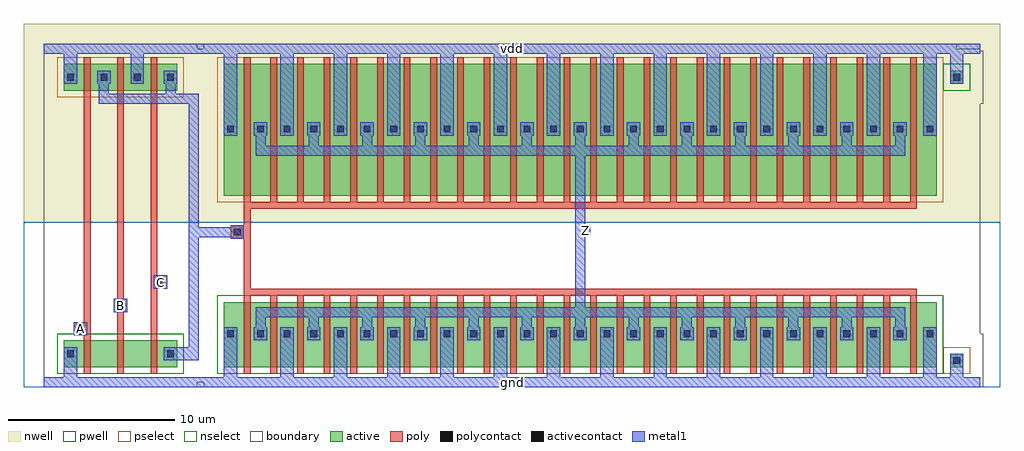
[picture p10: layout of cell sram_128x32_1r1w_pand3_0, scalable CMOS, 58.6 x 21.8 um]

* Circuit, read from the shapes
.subckt sram_128x32_1r1w_pand3_0 A B C Z gnd vdd
M1 sram_128x32_1r1w_pnand3_0_0/sram_128x32_1r1w_nmos_m1_w1_600_sm1_dactive_3/D A gnd gnd nfet w=1.6u l=0.4u
M2 sram_128x32_1r1w_pnand3_0_0/sram_128x32_1r1w_nmos_m1_w1_600_sactive_dactive_4/D B sram_128x32_1r1w_pnand3_0_0/sram_128x32_1r1w_nmos_m1_w1_600_sm1_dactive_3/D gnd nfet w=1.6u l=0.4u
M3 sram_128x32_1r1w_pdriver_3_1/A C sram_128x32_1r1w_pnand3_0_0/sram_128x32_1r1w_nmos_m1_w1_600_sactive_dactive_4/D gnd nfet w=1.6u l=0.4u
M4 Z sram_128x32_1r1w_pdriver_3_1/A gnd gnd nfet w=3.9u l=0.4u m=26
M5 sram_128x32_1r1w_pdriver_3_1/A A vdd vdd pfet w=1.6u l=0.4u
M6 vdd B sram_128x32_1r1w_pdriver_3_1/A vdd pfet w=1.6u l=0.4u
M7 sram_128x32_1r1w_pdriver_3_1/A C vdd vdd pfet w=1.6u l=0.4u
M8 Z sram_128x32_1r1w_pdriver_3_1/A vdd vdd pfet w=7.9u l=0.4u m=26
.ends

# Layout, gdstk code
import gdstk
lib = gdstk.Library(unit=1e-6, precision=1e-09)
def R(c, l, rs):  # rectangles x0, y0, x1, y1
    for r in rs: c.add(gdstk.rectangle(r[:2], r[2:], *l))
def A(c, l, x, y, w, h, nx, ny, dx, dy):  # array of equal rectangles
    R(c, l, [(x+i*dx, y+j*dy, x+i*dx+w, y+j*dy+h) for i in range(nx) for j in range(ny)])
pwell = (41, 0)
nwell = (42, 0)
active = (43, 0)
pselect = (44, 0)
nselect = (45, 0)
poly = (46, 0)
polycontact = (47, 0)
activecontact = (48, 0)
metal1 = (49, 0)
boundary = (63, 0)

sram_128x32_1r1w_contact = lib.new_cell('sram_128x32_1r1w_contact_11')
R(sram_128x32_1r1w_contact, nwell, [(-1.2,-1.2,2,2)])
R(sram_128x32_1r1w_contact, active, [(0,0,0.8,0.8)])
R(sram_128x32_1r1w_contact, pselect, [(-0.4,-0.4,1.2,1.2)])
R(sram_128x32_1r1w_contact, activecontact, [(0.2,0.2,0.6,0.6)])
R(sram_128x32_1r1w_contact, metal1, [(0,0,0.8,0.8)])
R(sram_128x32_1r1w_contact, boundary, [(-1.2,-1.2,2,2)])

sram_128x32_1r1w_pmos_m1 = lib.new_cell('sram_128x32_1r1w_pmos_m1_w1_600_sm1_dm1')
R(sram_128x32_1r1w_pmos_m1, nwell, [(-1.2,-1.2,4,2.8)])
R(sram_128x32_1r1w_pmos_m1, active, [(0,0,2.8,1.6)])
R(sram_128x32_1r1w_pmos_m1, pselect, [(-0.4,-0.4,3.2,2)])
R(sram_128x32_1r1w_pmos_m1, poly, [(1.2,-0.4,1.6,2), (1.2,-0.4,1.6,2)])
R(sram_128x32_1r1w_pmos_m1, metal1, [(0,0.4,0.8,1.2), (2,0.4,2.8,1.2)])
R(sram_128x32_1r1w_pmos_m1, boundary, [(-1.2,-1.2,4,2.8)])
sram_128x32_1r1w_pmos_m1.add(gdstk.Reference(sram_128x32_1r1w_contact, (0,0.4)))
sram_128x32_1r1w_pmos_m1.add(gdstk.Reference(sram_128x32_1r1w_contact, (2,0.4)))
sram_128x32_1r1w_pmos_m1.add(gdstk.Label('G', (1.4,0.8), layer=46, texttype=0))
sram_128x32_1r1w_pmos_m1.add(gdstk.Label('S', (0.4,0.8), layer=49, texttype=0))
sram_128x32_1r1w_pmos_m1.add(gdstk.Label('D', (2.4,0.8), layer=49, texttype=0))

c_sram_128x32_1r1w_contact = lib.new_cell('sram_128x32_1r1w_contact_10')
R(c_sram_128x32_1r1w_contact, pwell, [(-1.2,-1.2,2,2)])
R(c_sram_128x32_1r1w_contact, active, [(0,0,0.8,0.8)])
R(c_sram_128x32_1r1w_contact, nselect, [(-0.4,-0.4,1.2,1.2)])
R(c_sram_128x32_1r1w_contact, activecontact, [(0.2,0.2,0.6,0.6)])
R(c_sram_128x32_1r1w_contact, metal1, [(0,0,0.8,0.8)])
R(c_sram_128x32_1r1w_contact, boundary, [(-1.2,-1.2,2,2)])

sram_128x32_1r1w_nmos_m1 = lib.new_cell('sram_128x32_1r1w_nmos_m1_w1_600_sm1_dactive')
R(sram_128x32_1r1w_nmos_m1, pwell, [(-1.2,-1.2,4,2.8)])
R(sram_128x32_1r1w_nmos_m1, active, [(0,0,2.8,1.6), (2.1,0.5,2.7,1.1)])
R(sram_128x32_1r1w_nmos_m1, nselect, [(-0.4,-0.4,3.2,2)])
R(sram_128x32_1r1w_nmos_m1, poly, [(1.2,-0.4,1.6,2), (1.2,-0.4,1.6,2)])
R(sram_128x32_1r1w_nmos_m1, metal1, [(0,0.4,0.8,1.2)])
R(sram_128x32_1r1w_nmos_m1, boundary, [(-1.2,-1.2,4,2.8)])
sram_128x32_1r1w_nmos_m1.add(gdstk.Reference(c_sram_128x32_1r1w_contact, (0,0.4)))
sram_128x32_1r1w_nmos_m1.add(gdstk.Label('G', (1.4,0.8), layer=46, texttype=0))
sram_128x32_1r1w_nmos_m1.add(gdstk.Label('S', (0.4,0.8), layer=49, texttype=0))
sram_128x32_1r1w_nmos_m1.add(gdstk.Label('D', (2.4,0.8), layer=43, texttype=0))

c_sram_128x32_1r1w_nmos_m1 = lib.new_cell('sram_128x32_1r1w_nmos_m1_w1_600_sactive_dactive')
R(c_sram_128x32_1r1w_nmos_m1, pwell, [(-1.2,-1.2,4,2.8)])
R(c_sram_128x32_1r1w_nmos_m1, active, [(0,0,2.8,1.6), (0.1,0.5,0.7,1.1), (2.1,0.5,2.7,1.1)])
R(c_sram_128x32_1r1w_nmos_m1, nselect, [(-0.4,-0.4,3.2,2)])
R(c_sram_128x32_1r1w_nmos_m1, poly, [(1.2,-0.4,1.6,2), (1.2,-0.4,1.6,2)])
R(c_sram_128x32_1r1w_nmos_m1, boundary, [(-1.2,-1.2,4,2.8)])
c_sram_128x32_1r1w_nmos_m1.add(gdstk.Label('G', (1.4,0.8), layer=46, texttype=0))
c_sram_128x32_1r1w_nmos_m1.add(gdstk.Label('S', (0.4,0.8), layer=43, texttype=0))
c_sram_128x32_1r1w_nmos_m1.add(gdstk.Label('D', (2.4,0.8), layer=43, texttype=0))

c_sram_128x32_1r1w_nmos_m1_ = lib.new_cell('sram_128x32_1r1w_nmos_m1_w1_600_sactive_dm1')
R(c_sram_128x32_1r1w_nmos_m1_, pwell, [(-1.2,-1.2,4,2.8)])
R(c_sram_128x32_1r1w_nmos_m1_, active, [(0,0,2.8,1.6), (0.1,0.5,0.7,1.1)])
R(c_sram_128x32_1r1w_nmos_m1_, nselect, [(-0.4,-0.4,3.2,2)])
R(c_sram_128x32_1r1w_nmos_m1_, poly, [(1.2,-0.4,1.6,2), (1.2,-0.4,1.6,2)])
R(c_sram_128x32_1r1w_nmos_m1_, metal1, [(2,0.4,2.8,1.2)])
R(c_sram_128x32_1r1w_nmos_m1_, boundary, [(-1.2,-1.2,4,2.8)])
c_sram_128x32_1r1w_nmos_m1_.add(gdstk.Reference(c_sram_128x32_1r1w_contact, (2,0.4)))
c_sram_128x32_1r1w_nmos_m1_.add(gdstk.Label('G', (1.4,0.8), layer=46, texttype=0))
c_sram_128x32_1r1w_nmos_m1_.add(gdstk.Label('S', (0.4,0.8), layer=43, texttype=0))
c_sram_128x32_1r1w_nmos_m1_.add(gdstk.Label('D', (2.4,0.8), layer=49, texttype=0))

c_sram_128x32_1r1w_contact_ = lib.new_cell('sram_128x32_1r1w_contact_14')
R(c_sram_128x32_1r1w_contact_, poly, [(0,0,0.8,0.8)])
R(c_sram_128x32_1r1w_contact_, polycontact, [(0.2,0.2,0.6,0.6)])
R(c_sram_128x32_1r1w_contact_, metal1, [(0,0,0.8,0.8)])
R(c_sram_128x32_1r1w_contact_, boundary, [(0,0,0.8,0.8)])

sram_128x32_1r1w_pnand3_ = lib.new_cell('sram_128x32_1r1w_pnand3_0')
R(sram_128x32_1r1w_pnand3_, pwell, [(-1.2,-0.3,10.8,9.6)])
R(sram_128x32_1r1w_pnand3_, nwell, [(-1.2,9.6,10.8,21.5)])
A(sram_128x32_1r1w_pnand3_, poly, 2.4, 2.9, 0.4, 14.2, 3, 1, 2, 0)
R(sram_128x32_1r1w_pnand3_, poly, [(2.2,2.8,2.4,3.6), (4.4,4.2,4.6,5), (6.4,5.6,7,6.4)])
R(sram_128x32_1r1w_pnand3_, metal1, [(0,-0.3,9.6,0.3), (1.2,-0.3,2,1.3), (7.6,1.3,9,2.1), (8.7,1.3,9.3,17), (1.8,2.8,2.6,3.6), (4.2,4.2,5,5), (6.6,5.6,7.4,6.4), (3.3,16.7,3.9,17.3), (3.6,16.7,9,17.3), (7.3,16.7,7.9,17.3), (7.6,16.7,9,17.3), (8.7,16.7,9.3,17.3), (3.3,17,3.9,18.3), (7.3,17,7.9,18.3), (1.2,17.9,2,20.3), (5.2,17.9,6,20.3), (0,19.7,9.6,20.3)])
R(sram_128x32_1r1w_pnand3_, boundary, [(0,0,9.6,20), (0,0,9.6,20)])
sram_128x32_1r1w_pnand3_.add(gdstk.Reference(sram_128x32_1r1w_pmos_m1, (1.2,17.5)))
sram_128x32_1r1w_pnand3_.add(gdstk.Reference(sram_128x32_1r1w_pmos_m1, (3.2,17.5)))
sram_128x32_1r1w_pnand3_.add(gdstk.Reference(sram_128x32_1r1w_pmos_m1, (5.2,17.5)))
sram_128x32_1r1w_pnand3_.add(gdstk.Reference(sram_128x32_1r1w_nmos_m1, (1.2,0.9)))
sram_128x32_1r1w_pnand3_.add(gdstk.Reference(c_sram_128x32_1r1w_nmos_m1, (3.2,0.9)))
sram_128x32_1r1w_pnand3_.add(gdstk.Reference(c_sram_128x32_1r1w_nmos_m1_, (5.2,0.9)))
sram_128x32_1r1w_pnand3_.add(gdstk.Reference(c_sram_128x32_1r1w_contact_, (1.8,2.8)))
sram_128x32_1r1w_pnand3_.add(gdstk.Reference(c_sram_128x32_1r1w_contact_, (4.2,4.2)))
sram_128x32_1r1w_pnand3_.add(gdstk.Reference(c_sram_128x32_1r1w_contact_, (6.6,5.6)))
sram_128x32_1r1w_pnand3_.add(gdstk.Label('A', (2.2,3.2), layer=49, texttype=0))
sram_128x32_1r1w_pnand3_.add(gdstk.Label('B', (4.6,4.6), layer=49, texttype=0))
sram_128x32_1r1w_pnand3_.add(gdstk.Label('C', (7,6), layer=49, texttype=0))
sram_128x32_1r1w_pnand3_.add(gdstk.Label('Z', (9,17), layer=49, texttype=0))
sram_128x32_1r1w_pnand3_.add(gdstk.Label('gnd', (4.8,0), layer=49, texttype=0))
sram_128x32_1r1w_pnand3_.add(gdstk.Label('vdd', (4.8,20), layer=49, texttype=0))

sram_128x32_1r1w_pmos_m2 = lib.new_cell('sram_128x32_1r1w_pmos_m26_w7_900_sm1_dm1_da_p')
R(sram_128x32_1r1w_pmos_m2, nwell, [(-1.2,-1.2,44,9.1)])
R(sram_128x32_1r1w_pmos_m2, active, [(0,0,42.8,7.9)])
R(sram_128x32_1r1w_pmos_m2, pselect, [(-0.4,-0.4,43.2,8.3)])
A(sram_128x32_1r1w_pmos_m2, poly, 1.2, -0.4, 0.4, 8.7, 26, 1, 1.6, 0)
R(sram_128x32_1r1w_pmos_m2, poly, [(1.2,-0.8,41.6,-0.4)])
A(sram_128x32_1r1w_pmos_m2, metal1, 1.9, 2.6, 0.6, 1.4, 13, 1, 3.2, 0)
A(sram_128x32_1r1w_pmos_m2, metal1, 3.4, 3.6, 0.8, 0.8, 12, 1, 3.2, 0)
R(sram_128x32_1r1w_pmos_m2, metal1, [(1.9,2.4,40.9,3), (0,3.6,0.8,4.4), (42,3.6,42.8,4.4)])
R(sram_128x32_1r1w_pmos_m2, boundary, [(-1.2,-1.2,44,9.1)])
sram_128x32_1r1w_pmos_m2.add(gdstk.Reference(sram_128x32_1r1w_contact, (0,3.6)))
sram_128x32_1r1w_pmos_m2.add(gdstk.Reference(sram_128x32_1r1w_contact, (1.8,3.6)))
sram_128x32_1r1w_pmos_m2.add(gdstk.Reference(sram_128x32_1r1w_contact, (3.4,3.6)))
sram_128x32_1r1w_pmos_m2.add(gdstk.Reference(sram_128x32_1r1w_contact, (5,3.6)))
sram_128x32_1r1w_pmos_m2.add(gdstk.Reference(sram_128x32_1r1w_contact, (6.6,3.6)))
sram_128x32_1r1w_pmos_m2.add(gdstk.Reference(sram_128x32_1r1w_contact, (8.2,3.6)))
sram_128x32_1r1w_pmos_m2.add(gdstk.Reference(sram_128x32_1r1w_contact, (9.8,3.6)))
sram_128x32_1r1w_pmos_m2.add(gdstk.Reference(sram_128x32_1r1w_contact, (11.4,3.6)))
sram_128x32_1r1w_pmos_m2.add(gdstk.Reference(sram_128x32_1r1w_contact, (13,3.6)))
sram_128x32_1r1w_pmos_m2.add(gdstk.Reference(sram_128x32_1r1w_contact, (14.6,3.6)))
sram_128x32_1r1w_pmos_m2.add(gdstk.Reference(sram_128x32_1r1w_contact, (16.2,3.6)))
sram_128x32_1r1w_pmos_m2.add(gdstk.Reference(sram_128x32_1r1w_contact, (17.8,3.6)))
sram_128x32_1r1w_pmos_m2.add(gdstk.Reference(sram_128x32_1r1w_contact, (19.4,3.6)))
sram_128x32_1r1w_pmos_m2.add(gdstk.Reference(sram_128x32_1r1w_contact, (21,3.6)))
sram_128x32_1r1w_pmos_m2.add(gdstk.Reference(sram_128x32_1r1w_contact, (22.6,3.6)))
sram_128x32_1r1w_pmos_m2.add(gdstk.Reference(sram_128x32_1r1w_contact, (24.2,3.6)))
sram_128x32_1r1w_pmos_m2.add(gdstk.Reference(sram_128x32_1r1w_contact, (25.8,3.6)))
sram_128x32_1r1w_pmos_m2.add(gdstk.Reference(sram_128x32_1r1w_contact, (27.4,3.6)))
sram_128x32_1r1w_pmos_m2.add(gdstk.Reference(sram_128x32_1r1w_contact, (29,3.6)))
sram_128x32_1r1w_pmos_m2.add(gdstk.Reference(sram_128x32_1r1w_contact, (30.6,3.6)))
sram_128x32_1r1w_pmos_m2.add(gdstk.Reference(sram_128x32_1r1w_contact, (32.2,3.6)))
sram_128x32_1r1w_pmos_m2.add(gdstk.Reference(sram_128x32_1r1w_contact, (33.8,3.6)))
sram_128x32_1r1w_pmos_m2.add(gdstk.Reference(sram_128x32_1r1w_contact, (35.4,3.6)))
sram_128x32_1r1w_pmos_m2.add(gdstk.Reference(sram_128x32_1r1w_contact, (37,3.6)))
sram_128x32_1r1w_pmos_m2.add(gdstk.Reference(sram_128x32_1r1w_contact, (38.6,3.6)))
sram_128x32_1r1w_pmos_m2.add(gdstk.Reference(sram_128x32_1r1w_contact, (40.2,3.6)))
sram_128x32_1r1w_pmos_m2.add(gdstk.Reference(sram_128x32_1r1w_contact, (42,3.6)))
sram_128x32_1r1w_pmos_m2.add(gdstk.Label('G', (21.4,-0.6), layer=46, texttype=0))
sram_128x32_1r1w_pmos_m2.add(gdstk.Label('S', (23,4), layer=49, texttype=0))
sram_128x32_1r1w_pmos_m2.add(gdstk.Label('S', (39,4), layer=49, texttype=0))
sram_128x32_1r1w_pmos_m2.add(gdstk.Label('S', (0.4,4), layer=49, texttype=0))
sram_128x32_1r1w_pmos_m2.add(gdstk.Label('S', (16.6,4), layer=49, texttype=0))
sram_128x32_1r1w_pmos_m2.add(gdstk.Label('S', (26.2,4), layer=49, texttype=0))
sram_128x32_1r1w_pmos_m2.add(gdstk.Label('S', (29.4,4), layer=49, texttype=0))
sram_128x32_1r1w_pmos_m2.add(gdstk.Label('S', (10.2,4), layer=49, texttype=0))
sram_128x32_1r1w_pmos_m2.add(gdstk.Label('S', (3.8,4), layer=49, texttype=0))
sram_128x32_1r1w_pmos_m2.add(gdstk.Label('S', (13.4,4), layer=49, texttype=0))
sram_128x32_1r1w_pmos_m2.add(gdstk.Label('S', (35.8,4), layer=49, texttype=0))
sram_128x32_1r1w_pmos_m2.add(gdstk.Label('S', (42.4,4), layer=49, texttype=0))
sram_128x32_1r1w_pmos_m2.add(gdstk.Label('S', (7,4), layer=49, texttype=0))
sram_128x32_1r1w_pmos_m2.add(gdstk.Label('S', (32.6,4), layer=49, texttype=0))
sram_128x32_1r1w_pmos_m2.add(gdstk.Label('S', (19.8,4), layer=49, texttype=0))
sram_128x32_1r1w_pmos_m2.add(gdstk.Label('D', (21.4,2.7), layer=49, texttype=0))

sram_128x32_1r1w_nmos_m2 = lib.new_cell('sram_128x32_1r1w_nmos_m26_w3_900_sm1_dm1_da_p')
R(sram_128x32_1r1w_nmos_m2, pwell, [(-1.2,-1.2,44,5.1)])
R(sram_128x32_1r1w_nmos_m2, active, [(0,0,42.8,3.9)])
R(sram_128x32_1r1w_nmos_m2, nselect, [(-0.4,-0.4,43.2,4.3)])
A(sram_128x32_1r1w_nmos_m2, poly, 1.2, -0.4, 0.4, 4.7, 26, 1, 1.6, 0)
R(sram_128x32_1r1w_nmos_m2, poly, [(1.2,4.3,41.6,4.7)])
A(sram_128x32_1r1w_nmos_m2, metal1, 3.4, 1.6, 0.8, 0.8, 12, 1, 3.2, 0)
A(sram_128x32_1r1w_nmos_m2, metal1, 1.9, 2, 0.6, 1.2, 13, 1, 3.2, 0)
R(sram_128x32_1r1w_nmos_m2, metal1, [(0,1.6,0.8,2.4), (42,1.6,42.8,2.4), (1.9,3,40.9,3.6)])
R(sram_128x32_1r1w_nmos_m2, boundary, [(-1.2,-1.2,44,5.1)])
sram_128x32_1r1w_nmos_m2.add(gdstk.Reference(c_sram_128x32_1r1w_contact, (0,1.6)))
sram_128x32_1r1w_nmos_m2.add(gdstk.Reference(c_sram_128x32_1r1w_contact, (1.8,1.6)))
sram_128x32_1r1w_nmos_m2.add(gdstk.Reference(c_sram_128x32_1r1w_contact, (3.4,1.6)))
sram_128x32_1r1w_nmos_m2.add(gdstk.Reference(c_sram_128x32_1r1w_contact, (5,1.6)))
sram_128x32_1r1w_nmos_m2.add(gdstk.Reference(c_sram_128x32_1r1w_contact, (6.6,1.6)))
sram_128x32_1r1w_nmos_m2.add(gdstk.Reference(c_sram_128x32_1r1w_contact, (8.2,1.6)))
sram_128x32_1r1w_nmos_m2.add(gdstk.Reference(c_sram_128x32_1r1w_contact, (9.8,1.6)))
sram_128x32_1r1w_nmos_m2.add(gdstk.Reference(c_sram_128x32_1r1w_contact, (11.4,1.6)))
sram_128x32_1r1w_nmos_m2.add(gdstk.Reference(c_sram_128x32_1r1w_contact, (13,1.6)))
sram_128x32_1r1w_nmos_m2.add(gdstk.Reference(c_sram_128x32_1r1w_contact, (14.6,1.6)))
sram_128x32_1r1w_nmos_m2.add(gdstk.Reference(c_sram_128x32_1r1w_contact, (16.2,1.6)))
sram_128x32_1r1w_nmos_m2.add(gdstk.Reference(c_sram_128x32_1r1w_contact, (17.8,1.6)))
sram_128x32_1r1w_nmos_m2.add(gdstk.Reference(c_sram_128x32_1r1w_contact, (19.4,1.6)))
sram_128x32_1r1w_nmos_m2.add(gdstk.Reference(c_sram_128x32_1r1w_contact, (21,1.6)))
sram_128x32_1r1w_nmos_m2.add(gdstk.Reference(c_sram_128x32_1r1w_contact, (22.6,1.6)))
sram_128x32_1r1w_nmos_m2.add(gdstk.Reference(c_sram_128x32_1r1w_contact, (24.2,1.6)))
sram_128x32_1r1w_nmos_m2.add(gdstk.Reference(c_sram_128x32_1r1w_contact, (25.8,1.6)))
sram_128x32_1r1w_nmos_m2.add(gdstk.Reference(c_sram_128x32_1r1w_contact, (27.4,1.6)))
sram_128x32_1r1w_nmos_m2.add(gdstk.Reference(c_sram_128x32_1r1w_contact, (29,1.6)))
sram_128x32_1r1w_nmos_m2.add(gdstk.Reference(c_sram_128x32_1r1w_contact, (30.6,1.6)))
sram_128x32_1r1w_nmos_m2.add(gdstk.Reference(c_sram_128x32_1r1w_contact, (32.2,1.6)))
sram_128x32_1r1w_nmos_m2.add(gdstk.Reference(c_sram_128x32_1r1w_contact, (33.8,1.6)))
sram_128x32_1r1w_nmos_m2.add(gdstk.Reference(c_sram_128x32_1r1w_contact, (35.4,1.6)))
sram_128x32_1r1w_nmos_m2.add(gdstk.Reference(c_sram_128x32_1r1w_contact, (37,1.6)))
sram_128x32_1r1w_nmos_m2.add(gdstk.Reference(c_sram_128x32_1r1w_contact, (38.6,1.6)))
sram_128x32_1r1w_nmos_m2.add(gdstk.Reference(c_sram_128x32_1r1w_contact, (40.2,1.6)))
sram_128x32_1r1w_nmos_m2.add(gdstk.Reference(c_sram_128x32_1r1w_contact, (42,1.6)))
sram_128x32_1r1w_nmos_m2.add(gdstk.Label('G', (21.4,4.5), layer=46, texttype=0))
sram_128x32_1r1w_nmos_m2.add(gdstk.Label('S', (42.4,2), layer=49, texttype=0))
sram_128x32_1r1w_nmos_m2.add(gdstk.Label('S', (29.4,2), layer=49, texttype=0))
sram_128x32_1r1w_nmos_m2.add(gdstk.Label('S', (7,2), layer=49, texttype=0))
sram_128x32_1r1w_nmos_m2.add(gdstk.Label('S', (13.4,2), layer=49, texttype=0))
sram_128x32_1r1w_nmos_m2.add(gdstk.Label('S', (19.8,2), layer=49, texttype=0))
sram_128x32_1r1w_nmos_m2.add(gdstk.Label('S', (23,2), layer=49, texttype=0))
sram_128x32_1r1w_nmos_m2.add(gdstk.Label('S', (32.6,2), layer=49, texttype=0))
sram_128x32_1r1w_nmos_m2.add(gdstk.Label('S', (10.2,2), layer=49, texttype=0))
sram_128x32_1r1w_nmos_m2.add(gdstk.Label('S', (3.8,2), layer=49, texttype=0))
sram_128x32_1r1w_nmos_m2.add(gdstk.Label('S', (35.8,2), layer=49, texttype=0))
sram_128x32_1r1w_nmos_m2.add(gdstk.Label('S', (16.6,2), layer=49, texttype=0))
sram_128x32_1r1w_nmos_m2.add(gdstk.Label('S', (39,2), layer=49, texttype=0))
sram_128x32_1r1w_nmos_m2.add(gdstk.Label('S', (0.4,2), layer=49, texttype=0))
sram_128x32_1r1w_nmos_m2.add(gdstk.Label('S', (26.2,2), layer=49, texttype=0))
sram_128x32_1r1w_nmos_m2.add(gdstk.Label('D', (21.4,3.3), layer=49, texttype=0))

c_sram_128x32_1r1w_contact__ = lib.new_cell('sram_128x32_1r1w_contact_12')
R(c_sram_128x32_1r1w_contact__, nwell, [(-1.2,-1.2,2,2)])
R(c_sram_128x32_1r1w_contact__, active, [(0,0,0.8,0.8)])
R(c_sram_128x32_1r1w_contact__, nselect, [(-0.4,-0.4,1.2,1.2)])
R(c_sram_128x32_1r1w_contact__, activecontact, [(0.2,0.2,0.6,0.6)])
R(c_sram_128x32_1r1w_contact__, metal1, [(0,0,0.8,0.8)])
R(c_sram_128x32_1r1w_contact__, boundary, [(-1.2,-1.2,2,2)])

c_sram_128x32_1r1w_contact___ = lib.new_cell('sram_128x32_1r1w_contact_13')
R(c_sram_128x32_1r1w_contact___, pwell, [(-1.2,-1.2,2,2)])
R(c_sram_128x32_1r1w_contact___, active, [(0,0,0.8,0.8)])
R(c_sram_128x32_1r1w_contact___, pselect, [(-0.4,-0.4,1.2,1.2)])
R(c_sram_128x32_1r1w_contact___, activecontact, [(0.2,0.2,0.6,0.6)])
R(c_sram_128x32_1r1w_contact___, metal1, [(0,0,0.8,0.8)])
R(c_sram_128x32_1r1w_contact___, boundary, [(-1.2,-1.2,2,2)])

sram_128x32_1r1w_pinv_14 = lib.new_cell('sram_128x32_1r1w_pinv_14')
R(sram_128x32_1r1w_pinv_14, pwell, [(-1.2,-0.3,47.8,9.6)])
R(sram_128x32_1r1w_pinv_14, nwell, [(-1.2,9.6,47.8,21.5)])
R(sram_128x32_1r1w_pinv_14, poly, [(2.4,5.6,2.8,10.4), (2,8.6,2.4,9.4)])
A(sram_128x32_1r1w_pinv_14, metal1, 4.6, -0.3, 0.8, 2.8, 12, 1, 3.2, 0)
A(sram_128x32_1r1w_pinv_14, metal1, 4.6, 14.8, 0.8, 5.5, 12, 1, 3.2, 0)
R(sram_128x32_1r1w_pinv_14, metal1, [(0,-0.3,46.6,0.3), (1.2,-0.3,2,2.5), (43.2,-0.3,44,2.5), (44.8,0,45.6,1.3), (22.3,3.9,22.9,14.2), (1.6,8.6,2.4,9.4), (22.6,8.8,23.2,9.4), (1.2,14.8,2,20.3), (43.2,14.8,44,20.3), (44.8,18.3,45.6,20), (0,19.7,46.6,20.3)])
R(sram_128x32_1r1w_pinv_14, boundary, [(0,0,46.6,20), (0,0,46.6,20)])
sram_128x32_1r1w_pinv_14.add(gdstk.Reference(sram_128x32_1r1w_pmos_m2, (1.2,11.2)))
sram_128x32_1r1w_pinv_14.add(gdstk.Reference(sram_128x32_1r1w_nmos_m2, (1.2,0.9)))
sram_128x32_1r1w_pinv_14.add(gdstk.Reference(c_sram_128x32_1r1w_contact__, (44.8,17.9)))
sram_128x32_1r1w_pinv_14.add(gdstk.Reference(c_sram_128x32_1r1w_contact___, (44.8,0.9)))
sram_128x32_1r1w_pinv_14.add(gdstk.Reference(c_sram_128x32_1r1w_contact_, (1.6,8.6)))
sram_128x32_1r1w_pinv_14.add(gdstk.Label('A', (2,9), layer=49, texttype=0))
sram_128x32_1r1w_pinv_14.add(gdstk.Label('Z', (22.9,9.1), layer=49, texttype=0))
sram_128x32_1r1w_pinv_14.add(gdstk.Label('gnd', (23.3,0), layer=49, texttype=0))
sram_128x32_1r1w_pinv_14.add(gdstk.Label('vdd', (23.3,20), layer=49, texttype=0))

sram_128x32_1r1w_pdriver = lib.new_cell('sram_128x32_1r1w_pdriver_3')
R(sram_128x32_1r1w_pdriver, pwell, [(-1.2,-0.3,47.8,9.6)])
R(sram_128x32_1r1w_pdriver, nwell, [(-1.2,9.6,47.8,21.5)])
R(sram_128x32_1r1w_pdriver, metal1, [(0,-0.3,46.6,0.3), (1.6,8.6,2.4,9.4), (22.6,8.8,23.2,9.4), (0,19.7,46.6,20.3)])
R(sram_128x32_1r1w_pdriver, boundary, [(0,0,46.6,20), (0,0,46.6,20)])
sram_128x32_1r1w_pdriver.add(gdstk.Reference(sram_128x32_1r1w_pinv_14, (0,0)))
sram_128x32_1r1w_pdriver.add(gdstk.Label('Z', (22.9,9.1), layer=49, texttype=0))
sram_128x32_1r1w_pdriver.add(gdstk.Label('A', (2,9), layer=49, texttype=0))
sram_128x32_1r1w_pdriver.add(gdstk.Label('gnd', (23.3,0), layer=49, texttype=0))
sram_128x32_1r1w_pdriver.add(gdstk.Label('vdd', (23.3,20), layer=49, texttype=0))

sram_128x32_1r1w_pand3_0 = lib.new_cell('sram_128x32_1r1w_pand3_0')
R(sram_128x32_1r1w_pand3_0, metal1, [(0,-0.3,56.2,0.3), (1.8,2.8,2.6,3.6), (4.2,4.2,5,5), (6.6,5.6,7.4,6.4), (8.7,8.7,9.3,9.3), (9,8.7,11.6,9.3), (32.2,8.8,32.8,9.4), (8.7,9,9.3,17), (0,19.7,56.2,20.3)])
R(sram_128x32_1r1w_pand3_0, boundary, [(0,0,56.2,20), (0,0,56.2,20)])
sram_128x32_1r1w_pand3_0.add(gdstk.Reference(sram_128x32_1r1w_pnand3_, (0,0)))
sram_128x32_1r1w_pand3_0.add(gdstk.Reference(sram_128x32_1r1w_pdriver, (9.6,0)))
sram_128x32_1r1w_pand3_0.add(gdstk.Label('Z', (32.5,9.1), layer=49, texttype=0))
sram_128x32_1r1w_pand3_0.add(gdstk.Label('A', (2.2,3.2), layer=49, texttype=0))
sram_128x32_1r1w_pand3_0.add(gdstk.Label('B', (4.6,4.6), layer=49, texttype=0))
sram_128x32_1r1w_pand3_0.add(gdstk.Label('C', (7,6), layer=49, texttype=0))
sram_128x32_1r1w_pand3_0.add(gdstk.Label('gnd', (28.1,0), layer=49, texttype=0))
sram_128x32_1r1w_pand3_0.add(gdstk.Label('vdd', (28.1,20), layer=49, texttype=0))

lib.write_gds('sram_128x32_1r1w_pand3_0.gds')
